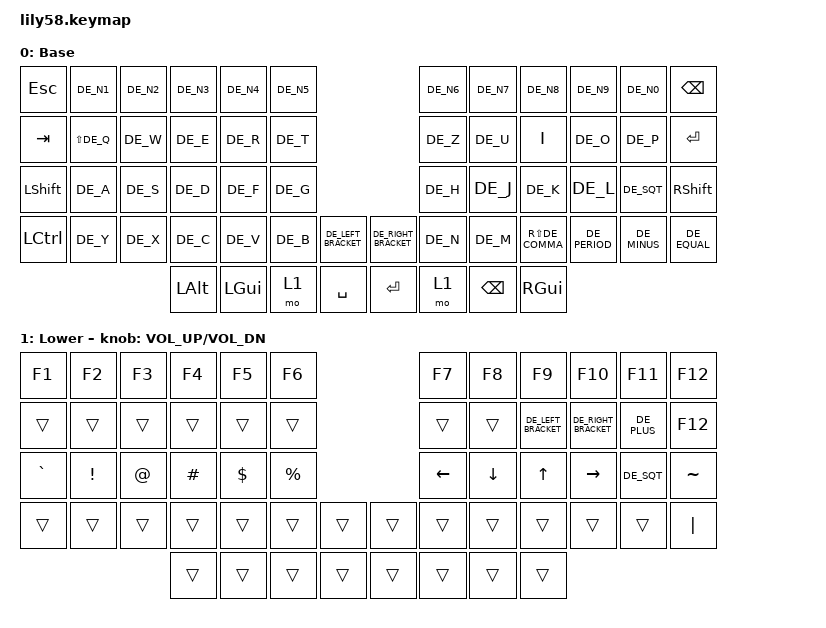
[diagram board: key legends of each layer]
/*
 * Copyright (c) 2020 The ZMK Contributors
 *
 * SPDX-License-Identifier: MIT
 */

#include <behaviors.dtsi>
#include <dt-bindings/zmk/keys.h>
#include "keys_de.h"

/ {
    keymap {
        compatible = "zmk,keymap";

        default_layer {
            // ------------------------------------------------------------------------------------------------------------
            // |  ESC  |  1  |  2  |  3   |  4   |  5   |                   |  6   |  7    |  8    |  9   |   0   |   `   |
            // |  TAB  |  Q  |  W  |  E   |  R   |  T   |                   |  Y   |  U    |  I    |  O   |   P   |   -   |
            // |  CTRL |  A  |  S  |  D   |  F   |  G   |                   |  H   |  J    |  K    |  L   |   ;   |   '   |
            // | SHIFT |  Z  |  X  |  C   |  V   |  B   |   "["  |  |  "]"  |  N   |  M    |  ,    |  .   |   /   | SHIFT |
            //                     | ALT  | GUI  | LOWER|  SPACE |  | ENTER | RAISE| BSPC  | GUI   |

            display-name = "Base";
            bindings = <
&kp ESC           &kp DE_N1     &kp DE_N2  &kp DE_N3  &kp DE_N4  &kp DE_N5                                               &kp DE_N6  &kp DE_N7  &kp DE_N8         &kp DE_N9      &kp DE_N0     &kp BACKSPACE
&kp TAB           &kp LS(DE_Q)  &kp DE_W   &kp DE_E   &kp DE_R   &kp DE_T                                                &kp DE_Z   &kp DE_U   &kp I             &kp DE_O       &kp DE_P      &kp ENTER
&kp LEFT_SHIFT    &kp DE_A      &kp DE_S   &kp DE_D   &kp DE_F   &kp DE_G                                                &kp DE_H   &kp DE_J   &kp DE_K          &kp DE_L       &kp DE_SQT    &kp RIGHT_SHIFT
&kp LEFT_CONTROL  &kp DE_Y      &kp DE_X   &kp DE_C   &kp DE_V   &kp DE_B   &kp DE_LEFT_BRACKET    &kp DE_RIGHT_BRACKET  &kp DE_N   &kp DE_M   &kp RS(DE_COMMA)  &kp DE_PERIOD  &kp DE_MINUS  &kp DE_EQUAL
                                           &kp LALT   &kp LGUI   &mo 1      &kp SPACE              &kp RET               &mo 1      &kp BSPC   &kp RGUI
            >;
        };

        lower_layer {
            // ------------------------------------------------------------------------------------------------------------
            // | BTCLR | BT1 | BT2 |  BT3 |  BT4 |  BT5 |                   |      |       |       |      |       |       |
            // |  F1   |  F2 |  F3 |  F4  |  F5  |  F6  |                   |  F7  |  F8   |  F9   |  F10 |  F11  |  F12  |
            // |   `   |  !  |  @  |  #   |  $   |  %   |                   |  ^   |  &    |  *    |  (   |   )   |   ~   |
            // |       |     |     |      |      |      |        |  |       |      |  _    |  +    |  {   |   }   |  "|"  |
            //                     |      |      |      |        |  |       |      |       |       |

            display-name = "Lower";
            bindings = <
&kp F1     &kp F2    &kp F3  &kp F4    &kp F5      &kp F6                       &kp F7          &kp F8    &kp F9               &kp F10               &kp F11      &kp F12
&trans     &trans    &trans  &trans    &trans      &trans                       &trans          &trans    &kp DE_LEFT_BRACKET  &kp DE_RIGHT_BRACKET  &kp DE_PLUS  &kp F12
&kp GRAVE  &kp EXCL  &kp AT  &kp HASH  &kp DOLLAR  &kp PRCNT                    &kp LEFT_ARROW  &kp DOWN  &kp UP               &kp RIGHT_ARROW       &kp DE_SQT   &kp TILDE
&trans     &trans    &trans  &trans    &trans      &trans     &trans    &trans  &trans          &trans    &trans               &trans                &trans       &kp PIPE
                             &trans    &trans      &trans     &trans    &trans  &trans          &trans    &trans
            >;

            sensor-bindings = <&inc_dec_kp C_VOL_UP C_VOL_DN>;
        };

        extra_1 { status = "reserved"; };

        extra_2 { status = "reserved"; };

        extra_3 { status = "reserved"; };
    };
};
